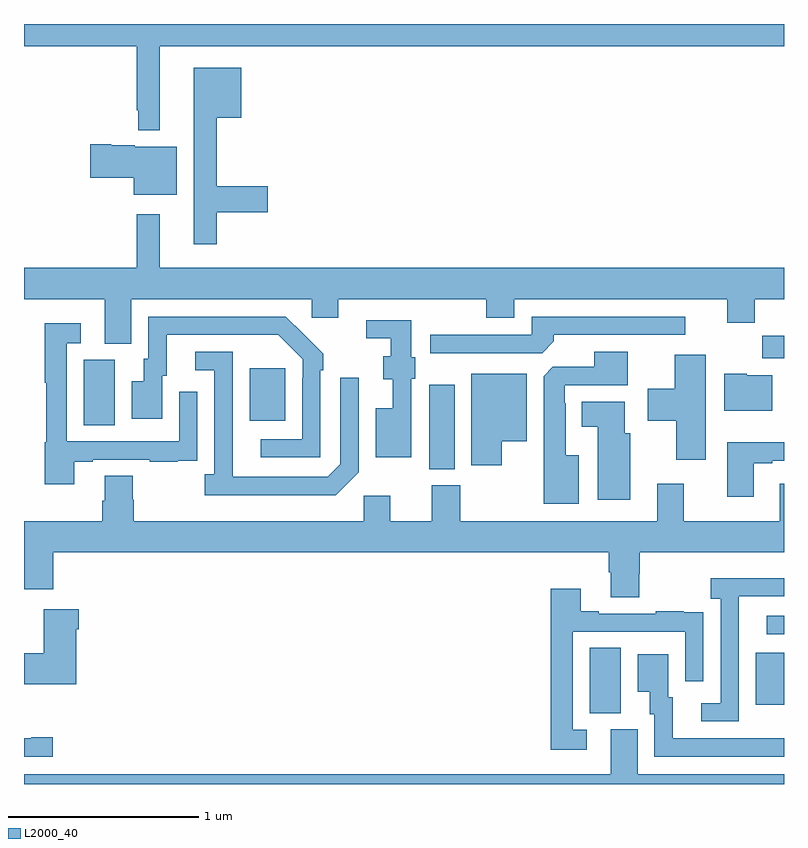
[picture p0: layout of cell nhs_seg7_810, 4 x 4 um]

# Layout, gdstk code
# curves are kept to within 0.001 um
import gdstk
lib = gdstk.Library(unit=1e-6, precision=1e-09)
def R(c, l, rs):  # rectangles x0, y0, x1, y1
    for r in rs: c.add(gdstk.rectangle(r[:2], r[2:], *l))
def P(c, l, *ps):  # polygons
    for p in ps: c.add(gdstk.Polygon(p, *l))
L2000_40 = (2000, 40)

nhs_seg7_810 = lib.new_cell('nhs_seg7_810')
R(nhs_seg7_810, L2000_40, [(173.978,1062.373,174.142,1062.716), (174.851,1062.417,175,1062.691), (174.909,1062.789,175,1062.885), (173.132,1063.657,173.266,1064.101), (171.314,1063.888,171.478,1064.232), (172.187,1063.913,172.375,1064.188), (174.886,1064.24,175,1064.359)])
P(nhs_seg7_810, L2000_40, [(171.715,1065.884),(175,1065.884),(175,1066),(171,1066),(171,1065.884),(171.594,1065.884),(171.594,1065.547),(171.601,1065.547),(171.601,1065.44),(171.715,1065.44)],
  [(172.015,1065.01),(172.282,1065.01),(172.282,1065.147),(172.015,1065.147),(172.015,1065.506),(172.144,1065.506),(172.144,1065.769),(171.893,1065.769),(171.893,1064.841),(172.015,1064.841)],
  [(171.805,1065.355),(171.582,1065.355),(171.582,1065.361),(171.46,1065.361),(171.46,1065.368),(171.348,1065.368),(171.348,1065.19),(171.578,1065.19),(171.578,1065.101),(171.805,1065.101)],
  [(171.565,1064.552),(172.515,1064.552),(172.515,1064.454),(172.654,1064.454),(172.654,1064.552),(173.434,1064.552),(173.434,1064.453),(173.581,1064.453),(173.581,1064.552),(174.701,1064.552),(174.701,1064.428),(174.845,1064.428),(174.845,1064.552),(175,1064.552),(175,1064.716),(171.715,1064.716),(171.715,1064.998),(171.594,1064.998),(171.594,1064.716),(171,1064.716),(171,1064.552),(171.425,1064.552),(171.425,1064.317),(171.565,1064.317)],
  [(172.56,1064.177),(172.575,1064.177),(172.575,1064.265),(172.378,1064.46),(171.654,1064.46),(171.654,1064.238),(171.629,1064.238),(171.629,1064.119),(171.566,1064.119),(171.566,1063.923),(171.727,1063.923),(171.727,1064.148),(171.751,1064.148),(171.751,1064.364),(172.339,1064.364),(172.467,1064.235),(172.467,1064.135),(172.464,1064.135),(172.464,1063.815),(172.245,1063.815),(172.245,1063.719),(172.56,1063.719)],
  [(173.789,1064.33),(173.789,1064.364),(174.481,1064.364),(174.481,1064.46),(173.673,1064.46),(173.673,1064.364),(173.139,1064.364),(173.139,1064.268),(173.727,1064.268)],
  [(173.037,1064.133),(173.058,1064.133),(173.058,1064.247),(173.037,1064.247),(173.037,1064.442),(172.8,1064.442),(172.8,1064.346),(172.929,1064.346),(172.929,1064.251),(172.892,1064.251),(172.892,1064.129),(172.94,1064.129),(172.94,1063.978),(172.85,1063.978),(172.85,1063.721),(173.037,1063.721)],
  [(171.265,1063.695),(171.361,1063.695),(171.361,1063.707),(171.661,1063.707),(171.661,1063.695),(171.809,1063.695),(171.809,1063.701),(171.911,1063.701),(171.911,1063.81),(171.912,1063.81),(171.912,1064.065),(171.816,1064.065),(171.816,1063.803),(171.225,1063.803),(171.225,1064.319),(171.298,1064.319),(171.298,1064.425),(171.109,1064.425),(171.109,1064.112),(171.117,1064.112),(171.117,1063.8),(171.109,1063.8),(171.109,1063.578),(171.265,1063.578)],
  [(173.92,1063.729),(173.851,1063.729),(173.851,1064.003),(173.847,1064.003),(173.847,1064.1),(174.178,1064.1),(174.178,1064.275),(174.002,1064.275),(174.002,1064.196),(173.784,1064.196),(173.735,1064.147),(173.735,1063.475),(173.92,1063.475)],
  [(172.761,1063.641),(172.761,1064.137),(172.665,1064.137),(172.665,1063.683),(172.599,1063.617),(172.099,1063.617),(172.098,1064.274),(171.9,1064.274),(171.9,1064.178),(172.002,1064.178),(172.002,1063.63),(171.951,1063.63),(171.951,1063.52),(172.64,1063.52)],
  [(174.589,1064.26),(174.425,1064.26),(174.425,1064.08),(174.282,1064.08),(174.282,1063.911),(174.434,1063.911),(174.434,1063.707),(174.589,1063.707)],
  [(174.937,1064.152),(174.804,1064.152),(174.804,1064.158),(174.686,1064.158),(174.686,1063.964),(174.937,1063.964)],
  [(173.515,1063.805),(173.647,1063.805),(173.647,1064.158),(173.354,1064.158),(173.354,1063.677),(173.515,1063.677)],
  [(174.19,1063.845),(174.163,1063.845),(174.163,1064.011),(173.936,1064.011),(173.936,1063.88),(174.02,1063.88),(174.02,1063.497),(174.19,1063.497)],
  [(174.841,1063.689),(174.937,1063.689),(174.937,1063.701),(175,1063.701),(175,1063.798),(174.701,1063.798),(174.701,1063.512),(174.841,1063.512)],
  [(174.237,1063.107),(174.242,1063.107),(174.242,1063.22),(175,1063.22),(175,1063.579),(174.977,1063.579),(174.977,1063.384),(174.472,1063.384),(174.472,1063.579),(174.332,1063.579),(174.332,1063.384),(173.295,1063.384),(173.295,1063.572),(173.147,1063.572),(173.147,1063.384),(172.927,1063.384),(172.927,1063.516),(172.788,1063.516),(172.788,1063.384),(171.578,1063.384),(171.578,1063.497),(171.573,1063.497),(171.573,1063.622),(171.425,1063.622),(171.425,1063.49),(171.413,1063.49),(171.413,1063.384),(171,1063.384),(171,1063.22),(171.002,1063.22),(171.002,1063.026),(171.155,1063.026),(171.155,1063.22),(174.077,1063.22),(174.077,1063.114),(174.089,1063.114),(174.089,1062.982),(174.237,1062.982)],
  [(174.762,1062.787),(174.763,1062.787),(174.763,1062.987),(175,1062.987),(175,1063.084),(174.615,1063.084),(174.615,1062.974),(174.666,1062.974),(174.666,1062.426),(174.564,1062.426),(174.564,1062.33),(174.762,1062.33)],
  [(173.962,1062.285),(173.889,1062.285),(173.889,1062.801),(174.48,1062.801),(174.48,1062.54),(174.576,1062.54),(174.576,1062.794),(174.575,1062.794),(174.575,1062.903),(174.473,1062.903),(174.473,1062.91),(174.325,1062.91),(174.325,1062.897),(174.025,1062.897),(174.025,1062.91),(173.929,1062.91),(173.929,1063.027),(173.773,1063.027),(173.773,1062.18),(173.962,1062.18)],
  [(171.274,1062.815),(171.287,1062.815),(171.287,1062.919),(171.104,1062.919),(171.104,1062.687),(171,1062.687),(171,1062.524),(171.274,1062.524)],
  [(175,1062.241),(174.899,1062.241),(174.899,1062.24),(174.415,1062.24),(174.415,1062.456),(174.391,1062.456),(174.391,1062.682),(174.23,1062.682),(174.23,1062.485),(174.293,1062.485),(174.293,1062.366),(174.318,1062.366),(174.318,1062.144),(175,1062.144)],
  [(175,1062.052),(174.229,1062.052),(174.229,1062.288),(174.089,1062.288),(174.089,1062.052),(171,1062.052),(171,1062),(175,1062)],
  [(171.151,1062.245),(171.038,1062.245),(171.038,1062.24),(171,1062.24),(171,1062.144),(171.151,1062.144)])

lib.write_gds('nhs_seg7_810.gds')
